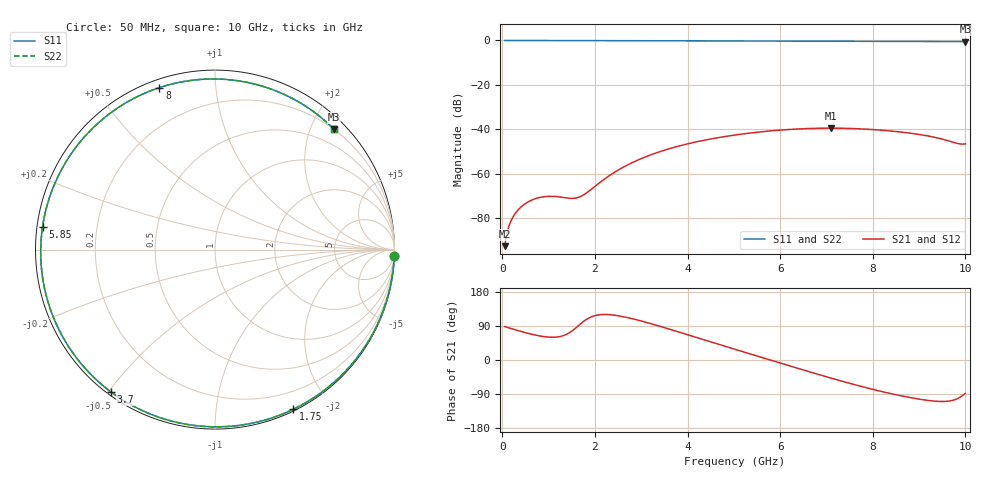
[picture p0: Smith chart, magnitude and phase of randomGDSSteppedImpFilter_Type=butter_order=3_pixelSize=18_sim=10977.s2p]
! freq	dB(S11)	phase(S11)	dB(S12)	phase(S12)
!  dB(S21)	phase(S21)	dB(S22)	phase(S22)
!S-par simulation data
#  GHz  S  DB  R 50
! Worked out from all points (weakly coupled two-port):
!   200 points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, 50 MHz to 10 GHz, reference 50 ohm
!   highest |S21| = -39.45 dB at 7.1 GHz (marker M1); lowest = -92.5 dB at 50 MHz (marker M2)
!   lowest |S11| = -0.5 dB at 10 GHz (marker M3), VSWR 34.04, Z = 9.84 + j119 ohm
!   |S11| at or under -10 dB: nowhere
!   |S22| runs from -0.5 to 0.0 dB; largest |S21 - S12| = 0
!   S11 on the Smith chart (normalised r, x): 50 MHz: 0, -60; 1.75 GHz: 0.02, -1.60; 3.7 GHz: 0.01, -0.51; 5.85 GHz: 0.02, +0.07; 8 GHz: 0.04, +0.71; 10 GHz: 0.20, +2.38
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0.05  -0.00 -1.9  -92.54 88.2  -92.54 88.2  -0.00 -1.9
0.2  -0.01 -7.6  -80.62 82.6  -80.62 82.6  -0.01 -7.6
0.45  -0.02 -16.9  -74.12 73.8  -74.12 73.8  -0.02 -16.9
0.75  -0.04 -28.1  -70.95 64.9  -70.95 64.9  -0.04 -28.1
1.05  -0.05 -39.1  -70.10 60.1  -70.10 60.1  -0.05 -39.1
1.55  -0.07 -56.9  -71.01 80.8  -71.01 80.8  -0.07 -56.9
1.75  -0.08 -63.9  -69.55 101.3  -69.55 101.3  -0.08 -63.9
2.15  -0.09 -77.5  -63.22 119.9  -63.22 119.9  -0.10 -77.5
2.55  -0.11 -90.6  -57.74 115.8  -57.74 115.8  -0.11 -90.6
2.95  -0.13 -103.3  -53.60 104.6  -53.60 104.6  -0.13 -103.3
3.4  -0.14 -117.1  -50.05 89.0  -50.05 89.0  -0.14 -117.1
3.7  -0.16 -126.1  -48.14 78.0  -48.14 78.0  -0.16 -126.1
4.4  -0.19 -146.4  -44.71 51.6  -44.71 51.6  -0.19 -146.4
5.05  -0.22 -164.9  -42.46 27.2  -42.46 27.2  -0.22 -164.9
5.85  -0.27 172.5  -40.58 -2.4  -40.58 -2.4  -0.27 172.5
6.7  -0.33 148.1  -39.56 -33.5  -39.56 -33.5  -0.33 148.1
7.1  -0.35 136.3  -39.45 -47.8  -39.45 -47.8  -0.35 136.3
8  -0.41 108.9  -40.08 -77.5  -40.08 -77.5  -0.41 108.9
8.35  -0.43 98.0  -40.66 -87.6  -40.66 -87.6  -0.43 98.0
9.15  -0.47 72.5  -42.80 -106.0  -42.80 -106.0  -0.47 72.5
9.85  -0.50 50.1  -46.42 -100.6  -46.42 -100.6  -0.50 50.1
10  -0.51 45.3  -46.51 -88.0  -46.51 -88.0  -0.51 45.3
